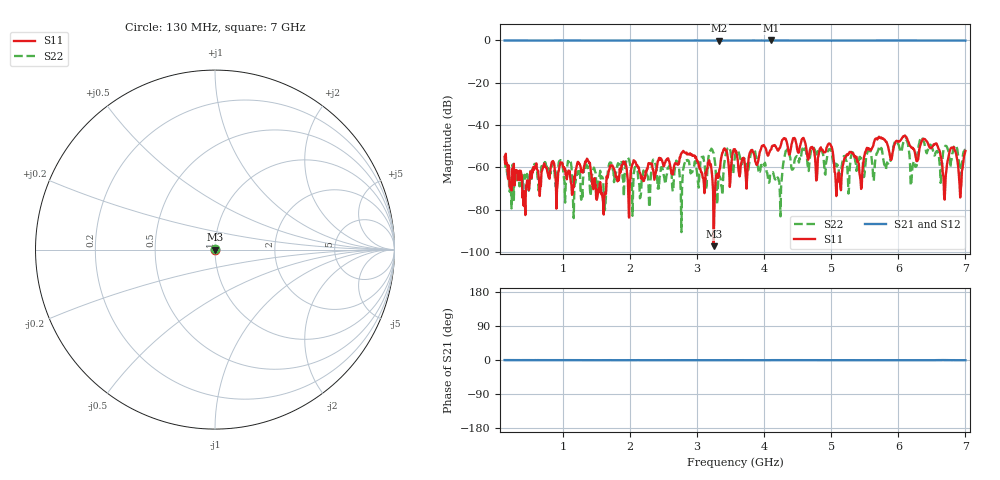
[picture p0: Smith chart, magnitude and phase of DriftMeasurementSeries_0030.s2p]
# Hz S RI R 50.000000
! Metas.Vna.Tools, 2.8.8664.20301
! Metas.Vna.Data, 2.8.8664.20285
! Created: UTC 2024.02.11 10:08:15
! FREQ  re:S1,1  im:S1,1  re:S2,1  im:S2,1  re:S1,2  im:S1,2  re:S2,2  im:S2,2
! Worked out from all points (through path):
!   801 points, 130 MHz to 7 GHz, reference 50 ohm
!   highest |S21| = 0.00 dB at 4.097 GHz (marker M1); lowest = -0.1 dB at 3.333 GHz (marker M2)
!   lowest |S11| = -97.3 dB at 3.247 GHz (marker M3), VSWR 1.00, Z = 50 - j0.00104 ohm
!   |S11| at or under -10 dB: start of sweep to end of sweep
!   |S22| runs from -90.6 to -45.6 dB; largest |S21 - S12| = 0.012
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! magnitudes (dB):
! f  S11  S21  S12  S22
! 130 MHz  -55.0  0.0  0.0  -56.0
! 430.6 MHz  -75.1  0.0  0.0  -63.5
! 576.5 MHz  -59.8  0.0  0.0  -58.3
! 1.281 GHz  -61.4  0.0  0.0  -70.7
! 1.607 GHz  -82.3  -0.1  0.0  -71.6
! 1.719 GHz  -59.1  -0.1  0.0  -57.8
! 2.423 GHz  -56.8  -0.1  0.0  -68.2
! 2.93 GHz  -54.6  0.0  0.0  -62.1
! 3.247 GHz  -97.3  -0.1  0.0  -53.4
! 3.333 GHz  -60.8  -0.1  0.0  -64.4
! 3.565 GHz  -51.4  -0.1  0.0  -54.6
! 4.097 GHz  -51.8  0.0  0.0  -63.1
! 4.716 GHz  -50.3  -0.1  0.0  -50.8
! 4.982 GHz  -48.9  0.0  0.0  -51.3
! 5.111 GHz  -62.4  -0.1  0.0  -60.4
! 5.265 GHz  -53.3  -0.1  0.0  -69.4
! 5.437 GHz  -66.2  -0.1  0.0  -56.0
! 5.678 GHz  -46.6  0.0  0.0  -53.4
! 5.858 GHz  -51.6  0.0  0.0  -56.9
! 6.553 GHz  -48.8  -0.1  0.0  -53.2
! 6.691 GHz  -75.3  0.0  0.0  -50.5
! 7 GHz  -52.2  -0.1  0.0  -51.8
